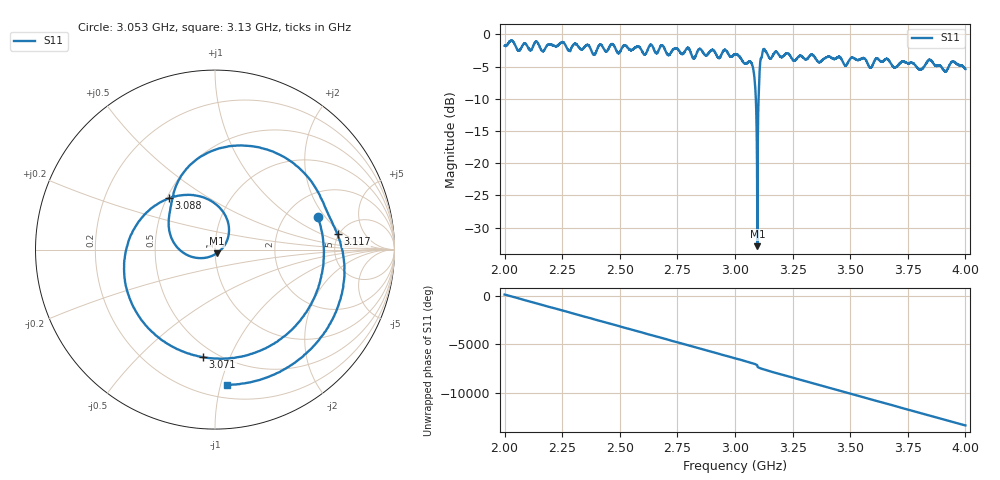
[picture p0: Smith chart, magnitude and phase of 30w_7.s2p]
!Agilent Technologies,E8362B,MY43021131,A.07.50.67
!Agilent E8362B: A.07.50.67
!Date: Thursday, March 14, 2024 14:54:25
!Correction: S11(Off)
!S21(Off)
!S12(Off)
!S22(Off)
!S2P File: Measurements: S11, S21, S12, S22:
# Hz S  RI  R 50
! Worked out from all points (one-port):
!   20001 points, 2 GHz to 4 GHz, reference 50 ohm
!   lowest |S11| = -32.9 dB at 3.097 GHz (marker M1), VSWR 1.05, Z = 51 - j2.07 ohm
!   |S11| at or under -10 dB: 3.090422 GHz to 3.102318 GHz (11.9 MHz wide, 0.384 % of centre)
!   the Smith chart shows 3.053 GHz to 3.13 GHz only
!   S11 on the Smith chart (normalised r, x): 3.053 GHz: 2.97, +1.68; 3.071 GHz: 0.43, -0.80; 3.088 GHz: 0.51, +0.34; 3.117 GHz: 4.88, +1.58; 3.13 GHz: 0.30, -1.05
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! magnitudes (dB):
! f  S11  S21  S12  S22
! 2 GHz  -1.7  -  -  -
! 2.333 GHz  -2.3  -  -  -
! 2.667 GHz  -2.6  -  -  -
! 3 GHz  -3.1  -  -  -
! 3.053 GHz  -4.4  -  -  -
! 3.071 GHz  -4.4  -  -  -
! 3.082 GHz  -6.1  -  -  -
! 3.088 GHz  -8.3  -  -  -
! 3.097 GHz  -32.9  -  -  -
! 3.103 GHz  -9.1  -  -  -
! 3.11 GHz  -4.2  -  -  -
! 3.117 GHz  -3.3  -  -  -
! 3.13 GHz  -2.4  -  -  -
! 3.257 GHz  -4.1  -  -  -
! 3.333 GHz  -3.1  -  -  -
! 3.479 GHz  -4.8  -  -  -
! 3.558 GHz  -3.7  -  -  -
! 3.588 GHz  -5.2  -  -  -
! 3.667 GHz  -4.0  -  -  -
! 3.693 GHz  -5.1  -  -  -
! 3.845 GHz  -3.9  -  -  -
! 4 GHz  -5.4  -  -  -
